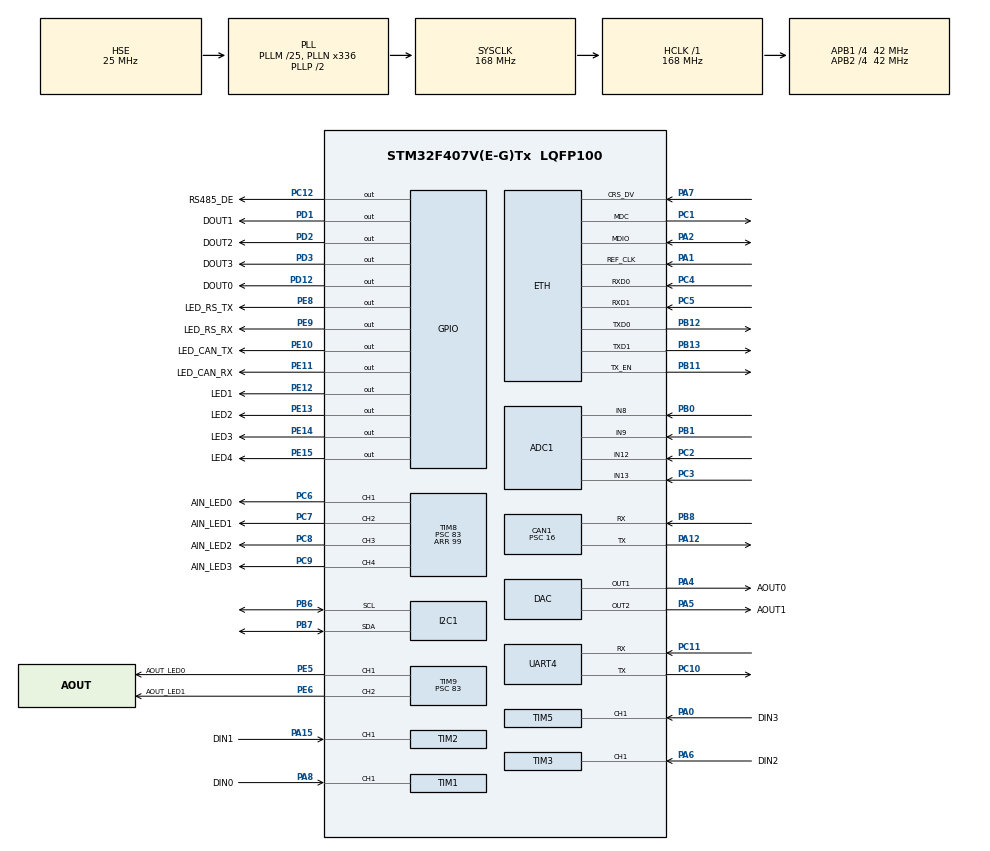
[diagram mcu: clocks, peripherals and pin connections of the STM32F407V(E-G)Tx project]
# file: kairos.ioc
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ADC1.Channel-2\#ChannelRegularConversion=ADC_CHANNEL_8
ADC1.Channel-3\#ChannelRegularConversion=ADC_CHANNEL_9
ADC1.Channel-4\#ChannelRegularConversion=ADC_CHANNEL_12
ADC1.Channel-5\#ChannelRegularConversion=ADC_CHANNEL_13
ADC1.ContinuousConvMode=ENABLE
ADC1.DMAContinuousRequests=ENABLE
ADC1.NbrOfConversion=4
ADC1.NbrOfConversionFlag=1
ADC1.Rank-2\#ChannelRegularConversion=1
ADC1.Rank-3\#ChannelRegularConversion=2
ADC1.Rank-4\#ChannelRegularConversion=3
ADC1.Rank-5\#ChannelRegularConversion=4
ADC1.SamplingTime-2\#ChannelRegularConversion=ADC_SAMPLETIME_3CYCLES
ADC1.SamplingTime-3\#ChannelRegularConversion=ADC_SAMPLETIME_3CYCLES
ADC1.SamplingTime-4\#ChannelRegularConversion=ADC_SAMPLETIME_3CYCLES
ADC1.SamplingTime-5\#ChannelRegularConversion=ADC_SAMPLETIME_3CYCLES
ADC1.ScanConvMode=ENABLE
ADC1.master=1
CAN1.BS1=CAN_BS1_3TQ
CAN1.BS2=CAN_BS2_1TQ
CAN1.CalculateBaudRate=525000
CAN1.CalculateTimeBit=1904
CAN1.CalculateTimeQuantum=380.95238095238096
CAN1.Prescaler=16
Dma.ADC1.2.Direction=DMA_PERIPH_TO_MEMORY
Dma.ADC1.2.FIFOMode=DMA_FIFOMODE_DISABLE
Dma.ADC1.2.Instance=DMA2_Stream0
Dma.ADC1.2.MemDataAlignment=DMA_MDATAALIGN_HALFWORD
Dma.ADC1.2.MemInc=DMA_MINC_ENABLE
Dma.ADC1.2.Mode=DMA_CIRCULAR
Dma.ADC1.2.PeriphDataAlignment=DMA_PDATAALIGN_HALFWORD
Dma.ADC1.2.PeriphInc=DMA_PINC_DISABLE
Dma.ADC1.2.Priority=DMA_PRIORITY_LOW
Dma.Request0=UART4_RX
Dma.Request1=UART4_TX
Dma.Request2=ADC1
Dma.UART4_RX.0.Direction=DMA_PERIPH_TO_MEMORY
Dma.UART4_RX.0.FIFOMode=DMA_FIFOMODE_DISABLE
Dma.UART4_RX.0.Instance=DMA1_Stream2
Dma.UART4_RX.0.MemDataAlignment=DMA_MDATAALIGN_BYTE
Dma.UART4_RX.0.MemInc=DMA_MINC_ENABLE
Dma.UART4_RX.0.Mode=DMA_NORMAL
Dma.UART4_RX.0.PeriphDataAlignment=DMA_PDATAALIGN_BYTE
Dma.UART4_RX.0.PeriphInc=DMA_PINC_DISABLE
Dma.UART4_RX.0.Priority=DMA_PRIORITY_LOW
Dma.UART4_TX.1.Direction=DMA_MEMORY_TO_PERIPH
Dma.UART4_TX.1.FIFOMode=DMA_FIFOMODE_DISABLE
Dma.UART4_TX.1.Instance=DMA1_Stream4
Dma.UART4_TX.1.MemDataAlignment=DMA_MDATAALIGN_BYTE
Dma.UART4_TX.1.MemInc=DMA_MINC_ENABLE
Dma.UART4_TX.1.Mode=DMA_NORMAL
Dma.UART4_TX.1.PeriphDataAlignment=DMA_PDATAALIGN_BYTE
Dma.UART4_TX.1.PeriphInc=DMA_PINC_DISABLE
Dma.UART4_TX.1.Priority=DMA_PRIORITY_LOW
ETH.MediaInterface=HAL_ETH_RMII_MODE
FREERTOS.Tasks01=defaultTask,14,1024,StartDefaultTask,Default,NULL,Dynamic,NULL,NULL
FREERTOS.configTOTAL_HEAP_SIZE=50000
FREERTOS.configUSE_NEWLIB_REENTRANT=1
LWIP.BSP.number=1
LWIP.CHECKSUM_CHECK_ICMP=0
LWIP.CHECKSUM_GEN_ICMP=0
LWIP.CHECKSUM_GEN_TCP=1
LWIP.DEFAULT_ACCEPTMBOX_SIZE=16
LWIP.DEFAULT_TCP_RECVMBOX_SIZE=16
LWIP.GATEWAY_ADDRESS=192.168.099.222
LWIP.IP_ADDRESS=192.168.099.011
LWIP.LWIP_SO_LINGER=1
LWIP.LWIP_SO_RCVTIMEO=1
LWIP.LWIP_UDP=0
LWIP.MEMP_NUM_RAW_PCB=0
LWIP.MEMP_NUM_TCP_PCB_LISTEN=4
LWIP.MEMP_NUM_TCP_SEG=32
LWIP.MEM_SIZE=16384
LWIP.NETMASK_ADDRESS=255.255.255.000
LWIP.PBUF_POOL_BUFSIZE=1460
LWIP.RECV_BUFSIZE_DEFAULT=8192
LWIP.TCPIP_MBOX_SIZE=16
LWIP.TCPIP_THREAD_STACKSIZE=4096
LWIP.TCP_MSS=1460
LWIP.TCP_SND_BUF=5840
LWIP.TCP_WND=2048
LWIP.TCP_WND_UPDATE_THRESHOLD=2048
LWIP.Version=v2.1.2_Cube
LWIP0.BSP.STBoard=false
LWIP0.BSP.api=BSP_COMPONENT_DRIVER
LWIP0.BSP.component=LAN8742
LWIP0.BSP.instance=LAN8742
LWIP0.BSP.name=Driver_PHY
LWIP0.BSP.semaphore=S_LAN8742
LWIP0.BSP.solution=LAN8742
Mcu.Family=STM32F4
Mcu.Name=STM32F407V(E-G)Tx
Mcu.Package=LQFP100
NVIC.CAN1_RX0_IRQn=true\:9\:0\:true\:false\:true\:true\:true\:true\:true
NVIC.CAN1_RX1_IRQn=true\:9\:0\:true\:false\:true\:true\:true\:true\:true
NVIC.CAN1_SCE_IRQn=true\:9\:0\:true\:false\:true\:true\:true\:true\:true
NVIC.CAN1_TX_IRQn=true\:9\:0\:true\:false\:true\:true\:true\:true\:true
NVIC.DMA1_Stream2_IRQn=true\:5\:0\:false\:false\:true\:true\:false\:true\:true
NVIC.DMA1_Stream4_IRQn=true\:5\:0\:false\:false\:true\:true\:false\:true\:true
NVIC.DMA2_Stream0_IRQn=true\:5\:0\:false\:false\:true\:true\:false\:true\:true
NVIC.ETH_IRQn=true\:6\:0\:true\:false\:true\:true\:false\:true\:true
NVIC.ETH_WKUP_IRQn=true\:6\:0\:true\:false\:true\:true\:true\:true\:true
NVIC.I2C1_ER_IRQn=true\:5\:0\:true\:false\:true\:true\:true\:true\:true
NVIC.I2C1_EV_IRQn=true\:5\:0\:true\:false\:true\:true\:true\:true\:true
NVIC.PriorityGroup=NVIC_PRIORITYGROUP_4
NVIC.TIM6_DAC_IRQn=true\:0\:0\:true\:false\:true\:false\:false\:true\:true
NVIC.TIM7_IRQn=true\:5\:0\:false\:false\:true\:true\:true\:true\:true
NVIC.TimeBase=TIM6_DAC_IRQn
NVIC.TimeBaseIP=TIM6
NVIC.UART4_IRQn=true\:9\:0\:true\:false\:true\:true\:true\:true\:true
PA0-WKUP.GPIO_Label=DIN3
PA0-WKUP.Signal=S_TIM5_CH1
PA1.Mode=RMII
PA1.Signal=ETH_REF_CLK
PA12.Mode=CAN_Activate
PA12.Signal=CAN1_TX
PA13.Mode=Serial_Wire
PA13.Signal=SYS_JTMS-SWDIO
PA14.Mode=Serial_Wire
PA14.Signal=SYS_JTCK-SWCLK
PA15.GPIO_Label=DIN1
PA15.Signal=S_TIM2_CH1_ETR
PA2.Mode=RMII
PA2.Signal=ETH_MDIO
PA4.GPIO_Label=AOUT0
PA4.Signal=COMP_DAC1_group
PA5.GPIO_Label=AOUT1
PA5.Signal=COMP_DAC2_group
PA6.GPIO_Label=DIN2
PA6.Signal=S_TIM3_CH1
PA7.Mode=RMII
PA7.Signal=ETH_CRS_DV
PA8.GPIO_Label=DIN0
PA8.Signal=S_TIM1_CH1
PB0.Signal=ADCx_IN8
PB1.Signal=ADCx_IN9
PB11.Mode=RMII
PB11.Signal=ETH_TX_EN
PB12.Mode=RMII
PB12.Signal=ETH_TXD0
PB13.Mode=RMII
PB13.Signal=ETH_TXD1
PB6.GPIO_Pu=GPIO_PULLUP
PB6.Mode=I2C
PB6.Signal=I2C1_SCL
PB7.GPIO_Pu=GPIO_PULLUP
PB7.Mode=I2C
PB7.Signal=I2C1_SDA
PB8.Mode=CAN_Activate
PB8.Signal=CAN1_RX
PC1.Mode=RMII
PC1.Signal=ETH_MDC
PC10.Mode=Asynchronous
PC10.Signal=UART4_TX
PC11.Mode=Asynchronous
PC11.Signal=UART4_RX
PC12.GPIO_Label=RS485_DE
PC12.Signal=GPIO_Output
PC2.Signal=ADCx_IN12
PC3.Signal=ADCx_IN13
PC4.Mode=RMII
PC4.Signal=ETH_RXD0
PC5.Mode=RMII
PC5.Signal=ETH_RXD1
PC6.GPIO_Label=AIN_LED0
PC6.Signal=S_TIM8_CH1
PC7.GPIO_Label=AIN_LED1
PC7.Signal=S_TIM8_CH2
PC8.GPIO_Label=AIN_LED2
PC8.Signal=S_TIM8_CH3
PC9.GPIO_Label=AIN_LED3
PC9.Signal=S_TIM8_CH4
PD1.GPIO_Label=DOUT1
PD1.Signal=GPIO_Output
PD12.GPIO_Label=DOUT0
PD12.Signal=GPIO_Output
PD2.GPIO_Label=DOUT2
PD2.Signal=GPIO_Output
PD3.GPIO_Label=DOUT3
PD3.Signal=GPIO_Output
PE10.GPIO_Label=LED_CAN_TX
PE10.Signal=GPIO_Output
PE11.GPIO_Label=LED_CAN_RX
PE11.Signal=GPIO_Output
PE12.GPIO_Label=LED1
PE12.Signal=GPIO_Output
PE13.GPIO_Label=LED2
PE13.Signal=GPIO_Output
PE14.GPIO_Label=LED3
PE14.Signal=GPIO_Output
PE15.GPIO_Label=LED4
PE15.Signal=GPIO_Output
PE5.GPIO_Label=AOUT_LED0
PE5.Signal=S_TIM9_CH1
PE6.GPIO_Label=AOUT_LED1
PE6.Signal=S_TIM9_CH2
PE8.GPIO_Label=LED_RS_TX
PE8.Signal=GPIO_Output
PE9.GPIO_Label=LED_RS_RX
PE9.Signal=GPIO_Output
PH0-OSC_IN.Mode=HSE-External-Oscillator
PH0-OSC_IN.Signal=RCC_OSC_IN
PH1-OSC_OUT.Mode=HSE-External-Oscillator
PH1-OSC_OUT.Signal=RCC_OSC_OUT
ProjectManager.HeapSize=0x200
ProjectManager.StackSize=0x400
ProjectManager.TargetToolchain=STM32CubeIDE
RCC.48MHZClocksFreq_Value=84000000
RCC.AHBFreq_Value=168000000
RCC.APB1CLKDivider=RCC_HCLK_DIV4
RCC.APB1Freq_Value=42000000
RCC.APB1TimFreq_Value=84000000
RCC.APB2CLKDivider=RCC_HCLK_DIV4
RCC.APB2Freq_Value=42000000
RCC.APB2TimFreq_Value=84000000
RCC.CortexFreq_Value=168000000
RCC.HCLKFreq_Value=168000000
RCC.HSE_VALUE=25000000
RCC.HSI_VALUE=16000000
RCC.LSE_VALUE=32768
RCC.PLLM=25
RCC.PLLN=336
RCC.PLLSourceVirtual=RCC_PLLSOURCE_HSE
RCC.SYSCLKFreq_VALUE=168000000
RCC.SYSCLKSource=RCC_SYSCLKSOURCE_PLLCLK
RCC.VCOOutputFreq_Value=336000000
SH.ADCx_IN12.0=ADC1_IN12,IN12
SH.ADCx_IN13.0=ADC1_IN13,IN13
SH.ADCx_IN8.0=ADC1_IN8,IN8
SH.ADCx_IN9.0=ADC1_IN9,IN9
SH.COMP_DAC1_group.0=DAC_OUT1,DAC_OUT1
SH.COMP_DAC2_group.0=DAC_OUT2,DAC_OUT2
SH.S_TIM1_CH1.0=TIM1_CH1,TriggerSource_TI1FP1
SH.S_TIM2_CH1_ETR.0=TIM2_CH1,TriggerSource_TI1FP1
SH.S_TIM3_CH1.0=TIM3_CH1,TriggerSource_TI1FP1
SH.S_TIM5_CH1.0=TIM5_CH1,TriggerSource_TI1FP1
SH.S_TIM8_CH1.0=TIM8_CH1,PWM Generation1 CH1
SH.S_TIM8_CH2.0=TIM8_CH2,PWM Generation2 CH2
SH.S_TIM8_CH3.0=TIM8_CH3,PWM Generation3 CH3
SH.S_TIM8_CH4.0=TIM8_CH4,PWM Generation4 CH4
SH.S_TIM9_CH1.0=TIM9_CH1,PWM Generation1 CH1
SH.S_TIM9_CH2.0=TIM9_CH2,PWM Generation2 CH2
TIM7.Period=839
TIM8.Channel-PWM\ Generation1\ CH1=TIM_CHANNEL_1
TIM8.Channel-PWM\ Generation2\ CH2=TIM_CHANNEL_2
TIM8.Channel-PWM\ Generation3\ CH3=TIM_CHANNEL_3
TIM8.Channel-PWM\ Generation4\ CH4=TIM_CHANNEL_4
TIM8.Period=99
TIM8.Prescaler=83
TIM9.Channel-PWM\ Generation1\ CH1=TIM_CHANNEL_1
TIM9.Channel-PWM\ Generation2\ CH2=TIM_CHANNEL_2
TIM9.Period=99
TIM9.Prescaler=83
UART4.VirtualMode=Asynchronous
VP_FREERTOS_VS_CMSIS_V2.Mode=CMSIS_V2
VP_LWIP_VS_Enabled.Mode=Enabled
VP_SYS_VS_tim6.Mode=TIM6
VP_TIM1_VS_ControllerModeClock.Mode=Clock Mode
VP_TIM2_VS_ControllerModeClock.Mode=Clock Mode
VP_TIM3_VS_ControllerModeClock.Mode=Clock Mode
VP_TIM5_VS_ControllerModeClock.Mode=Clock Mode
VP_TIM7_VS_ClockSourceINT.Mode=Enable_Timer
board=custom

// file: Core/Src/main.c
/* USER CODE BEGIN Header */
/**
  ******************************************************************************
  * @file           : main.c
  * @brief          : Main program body
  ******************************************************************************
  * @attention
  *
  * Copyright (c) 2026 STMicroelectronics.
  * All rights reserved.
  *
  * This software is licensed under terms that can be found in the LICENSE file
  * in the root directory of this software component.
  * If no LICENSE file comes with this software, it is provided AS-IS.
  *
  ******************************************************************************
  */
/* USER CODE END Header */
#include "main.h"
#include "cmsis_os.h"
#include "lwip.h"

ADC_HandleTypeDef hadc1;
DMA_HandleTypeDef hdma_adc1;

CAN_HandleTypeDef hcan1;

DAC_HandleTypeDef hdac;

I2C_HandleTypeDef hi2c1;

TIM_HandleTypeDef htim1;
TIM_HandleTypeDef htim2;
TIM_HandleTypeDef htim3;
TIM_HandleTypeDef htim5;
TIM_HandleTypeDef htim7;
TIM_HandleTypeDef htim8;
TIM_HandleTypeDef htim9;

UART_HandleTypeDef huart4;
DMA_HandleTypeDef hdma_uart4_rx;
DMA_HandleTypeDef hdma_uart4_tx;

/* Definitions for defaultTask */
osThreadId_t defaultTaskHandle;
const osThreadAttr_t defaultTask_attributes = {
  .name = "defaultTask",
  .stack_size = 1024 * 4,
  .priority = (osPriority_t) osPriorityLow6,
};
/* USER CODE BEGIN PV */
#if (configAPPLICATION_ALLOCATED_HEAP == 1)
__attribute__((section(".ccmram"))) uint8_t ucHeap[configTOTAL_HEAP_SIZE];
#endif
i2c_config_t i2c_config;
eeprom_t eeprom;
KairosConfig_t kairos_config;
uint8_t new_config = 0;
ProjectVars_t project_vars;
PluginEntry_t user_plugin;
uint8_t code_correct = 0;

RS485_Handle rs485 = {
	.baud_rate = 115200,
	.instance = UART4,
	.stop_bits = UART_STOPBITS_1,
	.de_port = RS485_DE_GPIO_Port,
	.de_pin = RS485_DE_Pin,
	.huart = &huart4,
	.rxSem = NULL,
	.txSem = NULL
};

CAN_Config_t can_config = {
	.filter_id = 0,
	.filter_mask = 0,
	.baud_rate = 500000,
	.hcan = &hcan1,
	.rxQueue = NULL,
	.instance = CAN1

};

Analog_Handle_t analog_handle = {
		.channel_types_adc = {TYPE_VOLTAGE_0_10V, TYPE_VOLTAGE_0_10V, TYPE_VOLTAGE_0_10V, TYPE_VOLTAGE_0_10V},
		.channel_types_dac = {TYPE_VOLTAGE_0_10V, TYPE_VOLTAGE_0_10V},
		.hadc = &hadc1,
		.hdac = &hdac,
		.raw_data_adc = {0}
};

osThreadId_t LedTask;
const osThreadAttr_t LedTask_attributes = {
  .name = "LedTask",
  .stack_size = 128 * 4,
  .priority = (osPriority_t) osPriorityLow1,
};

osThreadId_t CanTask;
const osThreadAttr_t CanTask_attributes = {
  .name = "CanTask",
  .stack_size = 128 * 18,
  .priority = (osPriority_t) osPriorityLow3,
};
osMutexId_t i2cMutexHandle;

void check_user_code(){
	// Проверка наличия кода во Flash
	uint32_t *flash_ptr = (uint32_t*)USER_CODE_ADDR;

	// Мы договорились, что первые 4 байта бинарника - это Magic Key
	if (*flash_ptr == MAGIC_KEY) {
			// Код начинается сразу после MagicKey (4 байта) + Size (4 байта) = смещение 8
			uint32_t code_addr = USER_CODE_ADDR + 8;

			// Бит 0 должен быть 1 для Thumb режима
			if (!(code_addr & 1)) code_addr |= 1;

			user_plugin = (PluginEntry_t)code_addr;
			code_correct = 1;
	}
}
/* USER CODE END PV */

void SystemClock_Config(void);
static void MX_GPIO_Init(void);
static void MX_DMA_Init(void);
static void MX_ADC1_Init(void);
static void MX_CAN1_Init(void);
static void MX_DAC_Init(void);
static void MX_UART4_Init(void);
static void MX_I2C1_Init(void);
static void MX_TIM1_Init(void);
static void MX_TIM8_Init(void);
static void MX_TIM9_Init(void);
static void MX_TIM3_Init(void);
static void MX_TIM5_Init(void);
static void MX_TIM2_Init(void);
static void MX_TIM7_Init(void);
void StartDefaultTask(void *argument);

int main(void)
{

  /* MCU Configuration--------------------------------------------------------*/

  /* Reset of all peripherals, Initializes the Flash interface and the Systick. */
  HAL_Init();

  /* Configure the system clock */
  SystemClock_Config();

  /* Initialize all configured peripherals */
  MX_GPIO_Init();
  MX_DMA_Init();
  MX_ADC1_Init();
  MX_CAN1_Init();
  MX_DAC_Init();
  MX_UART4_Init();
  MX_I2C1_Init();
  MX_TIM1_Init();
  MX_TIM8_Init();
  MX_TIM9_Init();
  MX_TIM3_Init();
  MX_TIM5_Init();
  MX_TIM2_Init();
  MX_TIM7_Init();
  /* USER CODE BEGIN 2 */
  const osMutexAttr_t i2cMutex_attributes = {
    "i2cMutex",
    osMutexRecursive | osMutexPrioInherit,
    NULL,
    0U
  };

  i2cMutexHandle = osMutexNew(&i2cMutex_attributes);
  i2c_init(&i2c_config, &hi2c1, i2cMutexHandle);

  eeprom_init(&eeprom, &i2c_config, EEPROM_DEVICE_ADDR, I2C_MEMADD_SIZE_16BIT);

  /* USER CODE END 2 */

  /* Init scheduler */
  osKernelInitialize();

  /* Create the thread(s) */
  /* creation of defaultTask */
  defaultTaskHandle = osThreadNew(StartDefaultTask, NULL, &defaultTask_attributes);

  /* USER CODE BEGIN RTOS_THREADS */
  LedService_Init();
  LedTask = osThreadNew(LedServiceTask, NULL, &LedTask_attributes);
  /* USER CODE END RTOS_THREADS */

  /* Start scheduler */
  osKernelStart();

  /* We should never get here as control is now taken by the scheduler */

  /* Infinite loop */
  while (1)
  {

  }
}

void SystemClock_Config(void)
{
  RCC_OscInitTypeDef RCC_OscInitStruct = {0};
  RCC_ClkInitTypeDef RCC_ClkInitStruct = {0};

  /** Configure the main internal regulator output voltage
  */
  __HAL_RCC_PWR_CLK_ENABLE();
  __HAL_PWR_VOLTAGESCALING_CONFIG(PWR_REGULATOR_VOLTAGE_SCALE1);

  /** Initializes the RCC Oscillators according to the specified parameters
  * in the RCC_OscInitTypeDef structure.
  */
  RCC_OscInitStruct.OscillatorType = RCC_OSCILLATORTYPE_HSE;
  RCC_OscInitStruct.HSEState = RCC_HSE_ON;
  RCC_OscInitStruct.PLL.PLLState = RCC_PLL_ON;
  RCC_OscInitStruct.PLL.PLLSource = RCC_PLLSOURCE_HSE;
  RCC_OscInitStruct.PLL.PLLM = 25;
  RCC_OscInitStruct.PLL.PLLN = 336;
  RCC_OscInitStruct.PLL.PLLP = RCC_PLLP_DIV2;
  RCC_OscInitStruct.PLL.PLLQ = 4;
  if (HAL_RCC_OscConfig(&RCC_OscInitStruct) != HAL_OK)
  {
    Error_Handler();
  }

  /** Initializes the CPU, AHB and APB buses clocks
  */
  RCC_ClkInitStruct.ClockType = RCC_CLOCKTYPE_HCLK|RCC_CLOCKTYPE_SYSCLK
                              |RCC_CLOCKTYPE_PCLK1|RCC_CLOCKTYPE_PCLK2;
  RCC_ClkInitStruct.SYSCLKSource = RCC_SYSCLKSOURCE_PLLCLK;
  RCC_ClkInitStruct.AHBCLKDivider = RCC_SYSCLK_DIV1;
  RCC_ClkInitStruct.APB1CLKDivider = RCC_HCLK_DIV4;
  RCC_ClkInitStruct.APB2CLKDivider = RCC_HCLK_DIV4;

  if (HAL_RCC_ClockConfig(&RCC_ClkInitStruct, FLASH_LATENCY_5) != HAL_OK)
  {
    Error_Handler();
  }
}

static void MX_ADC1_Init(void)
{

  ADC_ChannelConfTypeDef sConfig = {0};

  /** Configure the global features of the ADC (Clock, Resolution, Data Alignment and number of conversion)
  */
  hadc1.Instance = ADC1;
  hadc1.Init.ClockPrescaler = ADC_CLOCK_SYNC_PCLK_DIV2;
  hadc1.Init.Resolution = ADC_RESOLUTION_12B;
  hadc1.Init.ScanConvMode = ENABLE;
  hadc1.Init.ContinuousConvMode = ENABLE;
  hadc1.Init.DiscontinuousConvMode = DISABLE;
  hadc1.Init.ExternalTrigConvEdge = ADC_EXTERNALTRIGCONVEDGE_NONE;
  hadc1.Init.ExternalTrigConv = ADC_SOFTWARE_START;
  hadc1.Init.DataAlign = ADC_DATAALIGN_RIGHT;
  hadc1.Init.NbrOfConversion = 4;
  hadc1.Init.DMAContinuousRequests = ENABLE;
  hadc1.Init.EOCSelection = ADC_EOC_SINGLE_CONV;
  if (HAL_ADC_Init(&hadc1) != HAL_OK)
  {
    Error_Handler();
  }

  /** Configure for the selected ADC regular channel its corresponding rank in the sequencer and its sample time.
  */
  sConfig.Channel = ADC_CHANNEL_8;
  sConfig.Rank = 1;
  sConfig.SamplingTime = ADC_SAMPLETIME_3CYCLES;
  if (HAL_ADC_ConfigChannel(&hadc1, &sConfig) != HAL_OK)
  {
    Error_Handler();
  }

  /** Configure for the selected ADC regular channel its corresponding rank in the sequencer and its sample time.
  */
  sConfig.Channel = ADC_CHANNEL_9;
  sConfig.Rank = 2;
  if (HAL_ADC_ConfigChannel(&hadc1, &sConfig) != HAL_OK)
  {
    Error_Handler();
  }

  /** Configure for the selected ADC regular channel its corresponding rank in the sequencer and its sample time.
  */
  sConfig.Channel = ADC_CHANNEL_12;
  sConfig.Rank = 3;
  if (HAL_ADC_ConfigChannel(&hadc1, &sConfig) != HAL_OK)
  {
    Error_Handler();
  }

  /** Configure for the selected ADC regular channel its corresponding rank in the sequencer and its sample time.
  */
  sConfig.Channel = ADC_CHANNEL_13;
  sConfig.Rank = 4;
  if (HAL_ADC_ConfigChannel(&hadc1, &sConfig) != HAL_OK)
  {
    Error_Handler();
  }

}

static void MX_CAN1_Init(void)
{

  /* USER CODE BEGIN CAN1_Init 0 */
#if 0
  /* USER CODE END CAN1_Init 0 */

  hcan1.Instance = CAN1;
  hcan1.Init.Prescaler = 16;
  hcan1.Init.Mode = CAN_MODE_NORMAL;
  hcan1.Init.SyncJumpWidth = CAN_SJW_1TQ;
  hcan1.Init.TimeSeg1 = CAN_BS1_3TQ;
  hcan1.Init.TimeSeg2 = CAN_BS2_1TQ;
  hcan1.Init.TimeTriggeredMode = DISABLE;
  hcan1.Init.AutoBusOff = DISABLE;
  hcan1.Init.AutoWakeUp = DISABLE;
  hcan1.Init.AutoRetransmission = DISABLE;
  hcan1.Init.ReceiveFifoLocked = DISABLE;
  hcan1.Init.TransmitFifoPriority = DISABLE;
  if (HAL_CAN_Init(&hcan1) != HAL_OK)
  {
    Error_Handler();
  }
  /* USER CODE BEGIN CAN1_Init 2 */
#endif
  /* USER CODE END CAN1_Init 2 */

}

static void MX_DAC_Init(void)
{

  DAC_ChannelConfTypeDef sConfig = {0};

  /** DAC Initialization
  */
  hdac.Instance = DAC;
  if (HAL_DAC_Init(&hdac) != HAL_OK)
  {
    Error_Handler();
  }

  /** DAC channel OUT1 config
  */
  sConfig.DAC_Trigger = DAC_TRIGGER_NONE;
  sConfig.DAC_OutputBuffer = DAC_OUTPUTBUFFER_ENABLE;
  if (HAL_DAC_ConfigChannel(&hdac, &sConfig, DAC_CHANNEL_1) != HAL_OK)
  {
    Error_Handler();
  }

  /** DAC channel OUT2 config
  */
  if (HAL_DAC_ConfigChannel(&hdac, &sConfig, DAC_CHANNEL_2) != HAL_OK)
  {
    Error_Handler();
  }

}

static void MX_I2C1_Init(void)
{

  hi2c1.Instance = I2C1;
  hi2c1.Init.ClockSpeed = 100000;
  hi2c1.Init.DutyCycle = I2C_DUTYCYCLE_2;
  hi2c1.Init.OwnAddress1 = 0;
  hi2c1.Init.AddressingMode = I2C_ADDRESSINGMODE_7BIT;
  hi2c1.Init.DualAddressMode = I2C_DUALADDRESS_DISABLE;
  hi2c1.Init.OwnAddress2 = 0;
  hi2c1.Init.GeneralCallMode = I2C_GENERALCALL_DISABLE;
  hi2c1.Init.NoStretchMode = I2C_NOSTRETCH_DISABLE;
  if (HAL_I2C_Init(&hi2c1) != HAL_OK)
  {
    Error_Handler();
  }

}

static void MX_TIM1_Init(void)
{

  TIM_SlaveConfigTypeDef sSlaveConfig = {0};
  TIM_MasterConfigTypeDef sMasterConfig = {0};

  htim1.Instance = TIM1;
  htim1.Init.Prescaler = 0;
  htim1.Init.CounterMode = TIM_COUNTERMODE_UP;
  htim1.Init.Period = 65535;
  htim1.Init.ClockDivision = TIM_CLOCKDIVISION_DIV1;
  htim1.Init.RepetitionCounter = 0;
  htim1.Init.AutoReloadPreload = TIM_AUTORELOAD_PRELOAD_DISABLE;
  if (HAL_TIM_Base_Init(&htim1) != HAL_OK)
  {
    Error_Handler();
  }
  sSlaveConfig.SlaveMode = TIM_SLAVEMODE_EXTERNAL1;
  sSlaveConfig.InputTrigger = TIM_TS_TI1FP1;
  sSlaveConfig.TriggerPolarity = TIM_TRIGGERPOLARITY_RISING;
  sSlaveConfig.TriggerFilter = 0;
  if (HAL_TIM_SlaveConfigSynchro(&htim1, &sSlaveConfig) != HAL_OK)
  {
    Error_Handler();
  }
  sMasterConfig.MasterOutputTrigger = TIM_TRGO_RESET;
  sMasterConfig.MasterSlaveMode = TIM_MASTERSLAVEMODE_DISABLE;
  if (HAL_TIMEx_MasterConfigSynchronization(&htim1, &sMasterConfig) != HAL_OK)
  {
    Error_Handler();
  }

}

static void MX_TIM2_Init(void)
{

  TIM_SlaveConfigTypeDef sSlaveConfig = {0};
  TIM_MasterConfigTypeDef sMasterConfig = {0};

  htim2.Instance = TIM2;
  htim2.Init.Prescaler = 0;
  htim2.Init.CounterMode = TIM_COUNTERMODE_UP;
  htim2.Init.Period = 4294967295;
  htim2.Init.ClockDivision = TIM_CLOCKDIVISION_DIV1;
  htim2.Init.AutoReloadPreload = TIM_AUTORELOAD_PRELOAD_DISABLE;
  if (HAL_TIM_Base_Init(&htim2) != HAL_OK)
  {
    Error_Handler();
  }
  sSlaveConfig.SlaveMode = TIM_SLAVEMODE_EXTERNAL1;
  sSlaveConfig.InputTrigger = TIM_TS_TI1FP1;
  sSlaveConfig.TriggerPolarity = TIM_TRIGGERPOLARITY_RISING;
  sSlaveConfig.TriggerFilter = 0;
  if (HAL_TIM_SlaveConfigSynchro(&htim2, &sSlaveConfig) != HAL_OK)
  {
    Error_Handler();
  }
  sMasterConfig.MasterOutputTrigger = TIM_TRGO_RESET;
  sMasterConfig.MasterSlaveMode = TIM_MASTERSLAVEMODE_DISABLE;
  if (HAL_TIMEx_MasterConfigSynchronization(&htim2, &sMasterConfig) != HAL_OK)
  {
    Error_Handler();
  }

}

static void MX_TIM3_Init(void)
{

  TIM_SlaveConfigTypeDef sSlaveConfig = {0};
  TIM_MasterConfigTypeDef sMasterConfig = {0};

  htim3.Instance = TIM3;
  htim3.Init.Prescaler = 0;
  htim3.Init.CounterMode = TIM_COUNTERMODE_UP;
  htim3.Init.Period = 65535;
  htim3.Init.ClockDivision = TIM_CLOCKDIVISION_DIV1;
  htim3.Init.AutoReloadPreload = TIM_AUTORELOAD_PRELOAD_DISABLE;
  if (HAL_TIM_Base_Init(&htim3) != HAL_OK)
  {
    Error_Handler();
  }
  sSlaveConfig.SlaveMode = TIM_SLAVEMODE_EXTERNAL1;
  sSlaveConfig.InputTrigger = TIM_TS_TI1FP1;
  sSlaveConfig.TriggerPolarity = TIM_TRIGGERPOLARITY_RISING;
  sSlaveConfig.TriggerFilter = 0;
  if (HAL_TIM_SlaveConfigSynchro(&htim3, &sSlaveConfig) != HAL_OK)
  {
    Error_Handler();
  }
  sMasterConfig.MasterOutputTrigger = TIM_TRGO_RESET;
  sMasterConfig.MasterSlaveMode = TIM_MASTERSLAVEMODE_DISABLE;
  if (HAL_TIMEx_MasterConfigSynchronization(&htim3, &sMasterConfig) != HAL_OK)
  {
    Error_Handler();
  }

}

static void MX_TIM5_Init(void)
{

  TIM_SlaveConfigTypeDef sSlaveConfig = {0};
  TIM_MasterConfigTypeDef sMasterConfig = {0};

  htim5.Instance = TIM5;
  htim5.Init.Prescaler = 0;
  htim5.Init.CounterMode = TIM_COUNTERMODE_UP;
  htim5.Init.Period = 4294967295;
  htim5.Init.ClockDivision = TIM_CLOCKDIVISION_DIV1;
  htim5.Init.AutoReloadPreload = TIM_AUTORELOAD_PRELOAD_DISABLE;
  if (HAL_TIM_Base_Init(&htim5) != HAL_OK)
  {
    Error_Handler();
  }
  sSlaveConfig.SlaveMode = TIM_SLAVEMODE_EXTERNAL1;
  sSlaveConfig.InputTrigger = TIM_TS_TI1FP1;
  sSlaveConfig.TriggerPolarity = TIM_TRIGGERPOLARITY_RISING;
  sSlaveConfig.TriggerFilter = 0;
  if (HAL_TIM_SlaveConfigSynchro(&htim5, &sSlaveConfig) != HAL_OK)
  {
    Error_Handler();
  }
  sMasterConfig.MasterOutputTrigger = TIM_TRGO_RESET;
  sMasterConfig.MasterSlaveMode = TIM_MASTERSLAVEMODE_DISABLE;
  if (HAL_TIMEx_MasterConfigSynchronization(&htim5, &sMasterConfig) != HAL_OK)
  {
    Error_Handler();
  }

}

static void MX_TIM7_Init(void)
{

  TIM_MasterConfigTypeDef sMasterConfig = {0};

  htim7.Instance = TIM7;
  htim7.Init.Prescaler = 0;
  htim7.Init.CounterMode = TIM_COUNTERMODE_UP;
  htim7.Init.Period = 839;
  htim7.Init.AutoReloadPreload = TIM_AUTORELOAD_PRELOAD_DISABLE;
  if (HAL_TIM_Base_Init(&htim7) != HAL_OK)
  {
    Error_Handler();
  }
  sMasterConfig.MasterOutputTrigger = TIM_TRGO_RESET;
  sMasterConfig.MasterSlaveMode = TIM_MASTERSLAVEMODE_DISABLE;
  if (HAL_TIMEx_MasterConfigSynchronization(&htim7, &sMasterConfig) != HAL_OK)
  {
    Error_Handler();
  }

}

static void MX_TIM8_Init(void)
{

  TIM_MasterConfigTypeDef sMasterConfig = {0};
  TIM_OC_InitTypeDef sConfigOC = {0};
  TIM_BreakDeadTimeConfigTypeDef sBreakDeadTimeConfig = {0};

  htim8.Instance = TIM8;
  htim8.Init.Prescaler = 83;
  htim8.Init.CounterMode = TIM_COUNTERMODE_UP;
  htim8.Init.Period = 99;
  htim8.Init.ClockDivision = TIM_CLOCKDIVISION_DIV1;
  htim8.Init.RepetitionCounter = 0;
  htim8.Init.AutoReloadPreload = TIM_AUTORELOAD_PRELOAD_DISABLE;
  if (HAL_TIM_PWM_Init(&htim8) != HAL_OK)
  {
    Error_Handler();
  }
  sMasterConfig.MasterOutputTrigger = TIM_TRGO_RESET;
  sMasterConfig.MasterSlaveMode = TIM_MASTERSLAVEMODE_DISABLE;
  if (HAL_TIMEx_MasterConfigSynchronization(&htim8, &sMasterConfig) != HAL_OK)
  {
    Error_Handler();
  }
  sConfigOC.OCMode = TIM_OCMODE_PWM1;
  sConfigOC.Pulse = 0;
  sConfigOC.OCPolarity = TIM_OCPOLARITY_HIGH;
  sConfigOC.OCNPolarity = TIM_OCNPOLARITY_HIGH;
  sConfigOC.OCFastMode = TIM_OCFAST_DISABLE;
  sConfigOC.OCIdleState = TIM_OCIDLESTATE_RESET;
  sConfigOC.OCNIdleState = TIM_OCNIDLESTATE_RESET;
  if (HAL_TIM_PWM_ConfigChannel(&htim8, &sConfigOC, TIM_CHANNEL_1) != HAL_OK)
  {
    Error_Handler();
  }
  if (HAL_TIM_PWM_ConfigChannel(&htim8, &sConfigOC, TIM_CHANNEL_2) != HAL_OK)
  {
    Error_Handler();
  }
  if (HAL_TIM_PWM_ConfigChannel(&htim8, &sConfigOC, TIM_CHANNEL_3) != HAL_OK)
  {
    Error_Handler();
  }
  if (HAL_TIM_PWM_ConfigChannel(&htim8, &sConfigOC, TIM_CHANNEL_4) != HAL_OK)
  {
    Error_Handler();
  }
  sBreakDeadTimeConfig.OffStateRunMode = TIM_OSSR_DISABLE;
  sBreakDeadTimeConfig.OffStateIDLEMode = TIM_OSSI_DISABLE;
  sBreakDeadTimeConfig.LockLevel = TIM_LOCKLEVEL_OFF;
  sBreakDeadTimeConfig.DeadTime = 0;
  sBreakDeadTimeConfig.BreakState = TIM_BREAK_DISABLE;
  sBreakDeadTimeConfig.BreakPolarity = TIM_BREAKPOLARITY_HIGH;
  sBreakDeadTimeConfig.AutomaticOutput = TIM_AUTOMATICOUTPUT_DISABLE;
  if (HAL_TIMEx_ConfigBreakDeadTime(&htim8, &sBreakDeadTimeConfig) != HAL_OK)
  {
    Error_Handler();
  }
  HAL_TIM_MspPostInit(&htim8);

}

static void MX_TIM9_Init(void)
{

  TIM_OC_InitTypeDef sConfigOC = {0};

  htim9.Instance = TIM9;
  htim9.Init.Prescaler = 83;
  htim9.Init.CounterMode = TIM_COUNTERMODE_UP;
  htim9.Init.Period = 99;
  htim9.Init.ClockDivision = TIM_CLOCKDIVISION_DIV1;
  htim9.Init.AutoReloadPreload = TIM_AUTORELOAD_PRELOAD_DISABLE;
  if (HAL_TIM_PWM_Init(&htim9) != HAL_OK)
  {
    Error_Handler();
  }
  sConfigOC.OCMode = TIM_OCMODE_PWM1;
  sConfigOC.Pulse = 0;
  sConfigOC.OCPolarity = TIM_OCPOLARITY_HIGH;
  sConfigOC.OCFastMode = TIM_OCFAST_DISABLE;
  if (HAL_TIM_PWM_ConfigChannel(&htim9, &sConfigOC, TIM_CHANNEL_1) != HAL_OK)
  {
    Error_Handler();
  }
  if (HAL_TIM_PWM_ConfigChannel(&htim9, &sConfigOC, TIM_CHANNEL_2) != HAL_OK)
  {
    Error_Handler();
  }
  HAL_TIM_MspPostInit(&htim9);

}

static void MX_UART4_Init(void)
{

  /* USER CODE BEGIN UART4_Init 0 */

#if 0
  /* USER CODE END UART4_Init 0 */

  huart4.Instance = UART4;
  huart4.Init.BaudRate = 115200;
  huart4.Init.WordLength = UART_WORDLENGTH_8B;
  huart4.Init.StopBits = UART_STOPBITS_1;
  huart4.Init.Parity = UART_PARITY_NONE;
  huart4.Init.Mode = UART_MODE_TX_RX;
  huart4.Init.HwFlowCtl = UART_HWCONTROL_NONE;
  huart4.Init.OverSampling = UART_OVERSAMPLING_16;
  if (HAL_UART_Init(&huart4) != HAL_OK)
  {
    Error_Handler();
  }
  /* USER CODE BEGIN UART4_Init 2 */
#endif
  /* USER CODE END UART4_Init 2 */

}

static void MX_DMA_Init(void)
{

  /* DMA controller clock enable */
  __HAL_RCC_DMA1_CLK_ENABLE();
  __HAL_RCC_DMA2_CLK_ENABLE();

  /* DMA interrupt init */
  /* DMA1_Stream2_IRQn interrupt configuration */
  HAL_NVIC_SetPriority(DMA1_Stream2_IRQn, 5, 0);
  HAL_NVIC_EnableIRQ(DMA1_Stream2_IRQn);
  /* DMA1_Stream4_IRQn interrupt configuration */
  HAL_NVIC_SetPriority(DMA1_Stream4_IRQn, 5, 0);
  HAL_NVIC_EnableIRQ(DMA1_Stream4_IRQn);
  /* DMA2_Stream0_IRQn interrupt configuration */
  HAL_NVIC_SetPriority(DMA2_Stream0_IRQn, 5, 0);
  HAL_NVIC_EnableIRQ(DMA2_Stream0_IRQn);

}

static void MX_GPIO_Init(void)
{
  GPIO_InitTypeDef GPIO_InitStruct = {0};

  /* GPIO Ports Clock Enable */
  __HAL_RCC_GPIOE_CLK_ENABLE();
  __HAL_RCC_GPIOH_CLK_ENABLE();
  __HAL_RCC_GPIOC_CLK_ENABLE();
  __HAL_RCC_GPIOA_CLK_ENABLE();
  __HAL_RCC_GPIOB_CLK_ENABLE();
  __HAL_RCC_GPIOD_CLK_ENABLE();

  /*Configure GPIO pin Output Level */
  HAL_GPIO_WritePin(GPIOE, LED_RS_TX_Pin|LED_RS_RX_Pin|LED_CAN_TX_Pin|LED_CAN_RX_Pin
                          |LED1_Pin|LED2_Pin|LED3_Pin|LED4_Pin, GPIO_PIN_RESET);

  /*Configure GPIO pin Output Level */
  HAL_GPIO_WritePin(GPIOD, DOUT0_Pin|DOUT1_Pin|DOUT2_Pin|DOUT3_Pin, GPIO_PIN_RESET);

  /*Configure GPIO pin Output Level */
  HAL_GPIO_WritePin(RS485_DE_GPIO_Port, RS485_DE_Pin, GPIO_PIN_RESET);

  /*Configure GPIO pins : LED_RS_TX_Pin LED_RS_RX_Pin LED_CAN_TX_Pin LED_CAN_RX_Pin
                           LED1_Pin LED2_Pin LED3_Pin LED4_Pin */
  GPIO_InitStruct.Pin = LED_RS_TX_Pin|LED_RS_RX_Pin|LED_CAN_TX_Pin|LED_CAN_RX_Pin
                          |LED1_Pin|LED2_Pin|LED3_Pin|LED4_Pin;
  GPIO_InitStruct.Mode = GPIO_MODE_OUTPUT_PP;
  GPIO_InitStruct.Pull = GPIO_NOPULL;
  GPIO_InitStruct.Speed = GPIO_SPEED_FREQ_LOW;
  HAL_GPIO_Init(GPIOE, &GPIO_InitStruct);

  /*Configure GPIO pins : DOUT0_Pin DOUT1_Pin DOUT2_Pin DOUT3_Pin */
  GPIO_InitStruct.Pin = DOUT0_Pin|DOUT1_Pin|DOUT2_Pin|DOUT3_Pin;
  GPIO_InitStruct.Mode = GPIO_MODE_OUTPUT_PP;
  GPIO_InitStruct.Pull = GPIO_NOPULL;
  GPIO_InitStruct.Speed = GPIO_SPEED_FREQ_LOW;
  HAL_GPIO_Init(GPIOD, &GPIO_InitStruct);

  /*Configure GPIO pin : RS485_DE_Pin */
  GPIO_InitStruct.Pin = RS485_DE_Pin;
  GPIO_InitStruct.Mode = GPIO_MODE_OUTPUT_PP;
  GPIO_InitStruct.Pull = GPIO_NOPULL;
  GPIO_InitStruct.Speed = GPIO_SPEED_FREQ_LOW;
  HAL_GPIO_Init(RS485_DE_GPIO_Port, &GPIO_InitStruct);

}

/* USER CODE BEGIN 4 */
PidState_t pidState;
AutoTuneState_t tuneState;
extern volatile PidWorkStatus_e currentPidWorkStatus;

void init(){
  HAL_StatusTypeDef statusConfig = getConfig(&eeprom, &kairos_config);
  if (statusConfig == HAL_OK && kairos_config.config_version != 0xFFFFFFFF) {

		analog_handle.channel_types_adc[0] = kairos_config.gpio_config.analog_types[0];
		analog_handle.channel_types_adc[1] = kairos_config.gpio_config.analog_types[1];
		analog_handle.channel_types_adc[2] = kairos_config.gpio_config.analog_types[2];
		analog_handle.channel_types_adc[3] = kairos_config.gpio_config.analog_types[3];
		analog_handle.channel_types_dac[0] = kairos_config.gpio_config.analog_types[4];
		analog_handle.channel_types_dac[1] = kairos_config.gpio_config.analog_types[5];

		can_config.baud_rate = kairos_config.gpio_config.can_speed;
		can_config.filter_id = kairos_config.gpio_config.can_filter_id;
		can_config.filter_mask = kairos_config.gpio_config.can_filter_mask;

		rs485.baud_rate = kairos_config.gpio_config.rs_speed;
		rs485.stop_bits = kairos_config.gpio_config.rs_stop_bits;

		Analog_Init(&analog_handle);

		if (CAN_Bus_Init(&can_config) != HAL_OK) {
			Error_Handler();
		}

		if (RS485_Init(&rs485) != HAL_OK){
			Error_Handler();
		}

	  for (uint8_t i = 0; i < kairos_config.var_count; i++){
	  	switch (kairos_config.var_types[i]) {
	  	case 4:
	  		project_vars.vars[i].as_float = 0.0;
	  		break;
	  	case 5:
	  		project_vars.vars[i].as_bool = 0;
	  		break;
	  	default:
	  		project_vars.vars[i].as_uint32 = 0;
	  		break;
	  	}
	  }

	  // Инициализируем структуры памяти
		Kairos_PID_Init(&pidState);

		// Определяем режим работы
		if (kairos_config.regulator_config.autoTuneRequested == 1) {
			currentPidWorkStatus = PID_STATE_WAIT_FOR_TUNE;
		} else {
			currentPidWorkStatus = PID_STATE_READY;
		}

		project_vars.vars[KAIROS_ID].as_uint32 = kairos_config.config_version;

		// Запускаем аппаратный ПИД-цикл
		Kairos_TIM7_Init(kairos_config.regulator_config.dTime);

		CanTask = osThreadNew(CAN_Task, NULL, &CanTask_attributes);
  }
}
/* USER CODE END 4 */

void StartDefaultTask(void *argument)
{
	init();

  /* init code for LWIP */
  MX_LWIP_Init();
  /* USER CODE BEGIN 5 */
  HAL_StatusTypeDef newConfigStatus = HAL_ERROR;
  check_user_code();
  StartNetworkTasks();
  /* Infinite loop */
  for(;;)
  {
  	// проверка на наличие конфигурации
  	if (kairos_config.config_version == 0
  			|| kairos_config.config_version == 0xFFFFFFFF
				){
  		Led_Blink(LED_4, 200);
  		osDelay(500);
  		continue;
  	}
  	if (new_config) {
  		new_config = 0;
  		osDelay(100);
  		newConfigStatus = saveConfig(&eeprom, &kairos_config);
  		if (newConfigStatus != HAL_OK) Led_Blink(LED_4, 3000);
  		else {
  			Led_Blink(LED_1, 2000);
  			Led_Blink(LED_3, 2000);
  		}
		}

  	// Чтение данных с входов
  	Get_Discrete(&project_vars);
  	Analog_GetValues(&project_vars);
  	// TODO чтение RS485

  	// Выполнение пользовательского кода
  	if (code_correct)
  			user_plugin(&api);

  	Led_Blink(LED_1, 200);
    osDelay(10);
  }
  /* USER CODE END 5 */
}

void HAL_TIM_PeriodElapsedCallback(TIM_HandleTypeDef *htim)
{
  if (htim->Instance == TIM6)
  {
    HAL_IncTick();
  }
  /* USER CODE BEGIN Callback 1 */
  if (htim->Instance == TIM7) {

  	switch (currentPidWorkStatus) {
					case PID_STATE_WAIT_FOR_TUNE:
							// В этом состоянии мы ничего не делаем.
							// Выход регулятора можно обнулить или держать в безопасном minValue
//                project_vars.vars[kairos_config.regulator_config.outputIndex].as_float =
//                    kairos_config.regulator_config.minValue;

							// Здесь можно добавить проверку флага старта извне (например, по Modbus)
							// if (start_tuning_flag) currentWorkStatus = PID_STATE_TUNING;
							break;

					case PID_STATE_TUNING:
							// Инициализация тюнера при первом входе в состояние
							if (tuneState.state == TUNE_STATE_IDLE) {
									Kairos_AutoTune_Init(&tuneState, 100.0f, 0.0f); // Шаги реле
							}

							// Вызов функции автотюнинга
							uint32_t now = HAL_GetTick();
							if (Kairos_AutoTune_Process(&kairos_config, &project_vars, &tuneState, now)) {
									// Если вернул true — расчет окончен, коэффициенты записаны в kairos_config
									currentPidWorkStatus = PID_STATE_READY;
									Kairos_PID_Init(&pidState); // Сброс памяти для мягкого старта ПИД
							}
							break;

					case PID_STATE_READY:
							// Обычный рабочий режим
							Kairos_PID_Compute(&kairos_config, &project_vars, &pidState);
							break;
			}

			// Тут можно добавить физический вывод на периферию после расчета
			Analog_SetOutput(&project_vars);
			Set_DiscreteOutput(&project_vars);
  }
  /* USER CODE END Callback 1 */
}

void Error_Handler(void)
{
  __disable_irq();
  while (1)
  {
  }
}
